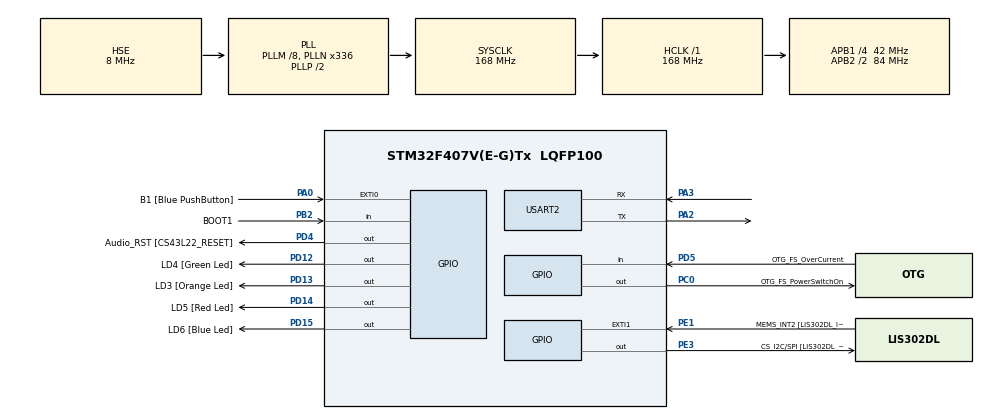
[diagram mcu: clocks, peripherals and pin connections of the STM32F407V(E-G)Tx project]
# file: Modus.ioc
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Mcu.Family=STM32F4
Mcu.Name=STM32F407V(E-G)Tx
Mcu.Package=LQFP100
NVIC.PriorityGroup=NVIC_PRIORITYGROUP_0
NVIC.TIM6_DAC_IRQn=true\:0\:0\:false\:false\:true\:true\:true\:true
NVIC.TIM7_IRQn=true\:0\:0\:false\:false\:true\:true\:true\:true
NVIC.USART2_IRQn=true\:0\:0\:false\:false\:true\:true\:true\:true
PA0-WKUP.GPIO_Label=B1 [Blue PushButton]
PA0-WKUP.Signal=GPXTI0
PA10.GPIO_Label=OTG_FS_ID
PA10.GPIO_Mode=GPIO_MODE_AF_PP
PA10.GPIO_PuPd=GPIO_NOPULL
PA10.GPIO_Speed=GPIO_SPEED_FREQ_LOW
PA10.Signal=USB_OTG_FS_ID
PA11.GPIO_Label=OTG_FS_DM
PA11.GPIO_Mode=GPIO_MODE_AF_PP
PA11.GPIO_PuPd=GPIO_NOPULL
PA11.GPIO_Speed=GPIO_SPEED_FREQ_LOW
PA11.Signal=USB_OTG_FS_DM
PA12.GPIO_Label=OTG_FS_DP
PA12.GPIO_Mode=GPIO_MODE_AF_PP
PA12.GPIO_PuPd=GPIO_NOPULL
PA12.GPIO_Speed=GPIO_SPEED_FREQ_LOW
PA12.Signal=USB_OTG_FS_DP
PA13.GPIO_Label=SWDIO
PA13.Mode=JTAG_4_pins
PA13.Signal=SYS_JTMS-SWDIO
PA14.GPIO_Label=SWCLK
PA14.Mode=JTAG_4_pins
PA14.Signal=SYS_JTCK-SWCLK
PA15.Mode=JTAG_4_pins
PA15.Signal=SYS_JTDI
PA2.Mode=Asynchronous
PA2.Signal=USART2_TX
PA3.Mode=Asynchronous
PA3.Signal=USART2_RX
PA4.GPIO_Label=I2S3_WS [CS43L22_LRCK]
PA4.GPIO_Mode=GPIO_MODE_AF_PP
PA4.GPIO_PuPd=GPIO_NOPULL
PA4.GPIO_Speed=GPIO_SPEED_FREQ_LOW
PA4.Signal=I2S3_WS
PA5.GPIO_Label=SPI1_SCK [LIS302DL_SCL/SPC]
PA5.GPIO_Mode=GPIO_MODE_AF_PP
PA5.GPIO_PuPd=GPIO_NOPULL
PA5.GPIO_Speed=GPIO_SPEED_FREQ_LOW
PA5.Signal=SPI1_SCK
PA6.GPIO_Label=SPI1_MISO [LIS302DL_SDO]
PA6.GPIO_Mode=GPIO_MODE_AF_PP
PA6.GPIO_PuPd=GPIO_NOPULL
PA6.GPIO_Speed=GPIO_SPEED_FREQ_LOW
PA6.Signal=SPI1_MISO
PA7.GPIO_Label=SPI1_MOSI [LIS302DL_SDA/SDI/SDO]
PA7.GPIO_Mode=GPIO_MODE_AF_PP
PA7.GPIO_PuPd=GPIO_NOPULL
PA7.GPIO_Speed=GPIO_SPEED_FREQ_LOW
PA7.Signal=SPI1_MOSI
PA9.GPIO_Label=VBUS_FS
PA9.GPIO_Mode=GPIO_MODE_INPUT
PA9.GPIO_PuPd=GPIO_NOPULL
PA9.Signal=USB_OTG_FS_VBUS
PB10.GPIO_Label=CLK_IN [MP45DT02_CLK]
PB10.GPIO_Mode=GPIO_MODE_AF_PP
PB10.GPIO_PuPd=GPIO_NOPULL
PB10.GPIO_Speed=GPIO_SPEED_FREQ_LOW
PB10.Signal=I2S2_CK
PB2.GPIO_Label=BOOT1
PB2.GPIO_Mode=GPIO_MODE_INPUT
PB2.GPIO_PuPd=GPIO_NOPULL
PB2.Signal=GPIO_Input
PB3.GPIO_Label=SWO
PB3.Mode=JTAG_4_pins
PB3.Signal=SYS_JTDO-SWO
PB6.GPIO_Label=Audio_SCL [CS43L22_SCL]
PB6.GPIO_Mode=GPIO_MODE_AF_OD
PB6.GPIO_PuPd=GPIO_NOPULL
PB6.GPIO_Speed=GPIO_SPEED_FREQ_LOW
PB6.Signal=I2C1_SCL
PB9.GPIO_Label=Audio_SDA [CS43L22_SDA]
PB9.GPIO_Mode=GPIO_MODE_AF_OD
PB9.GPIO_PuPd=GPIO_NOPULL
PB9.GPIO_Speed=GPIO_SPEED_FREQ_LOW
PB9.Signal=I2C1_SDA
PC0.GPIO_Label=OTG_FS_PowerSwitchOn
PC0.GPIO_PuPd=GPIO_NOPULL
PC0.GPIO_Speed=GPIO_SPEED_FREQ_LOW
PC0.PinState=GPIO_PIN_SET
PC0.Signal=GPIO_Output
PC10.GPIO_Label=I2S3_SCK [CS43L22_SCLK]
PC10.GPIO_Mode=GPIO_MODE_AF_PP
PC10.GPIO_PuPd=GPIO_NOPULL
PC10.GPIO_Speed=GPIO_SPEED_FREQ_LOW
PC10.Signal=I2S3_CK
PC12.GPIO_Label=I2S3_SD [CS43L22_SDIN]
PC12.GPIO_Mode=GPIO_MODE_AF_PP
PC12.GPIO_PuPd=GPIO_NOPULL
PC12.GPIO_Speed=GPIO_SPEED_FREQ_LOW
PC12.Signal=I2S3_SD
PC14-OSC32_IN.GPIO_Label=PC14-OSC32_IN
PC14-OSC32_IN.Signal=RCC_OSC32_IN
PC15-OSC32_OUT.GPIO_Label=PC15-OSC32_OUT
PC15-OSC32_OUT.Signal=RCC_OSC32_OUT
PC3.GPIO_Label=PDM_OUT [MP45DT02_DOUT]
PC3.GPIO_Mode=GPIO_MODE_AF_PP
PC3.GPIO_PuPd=GPIO_NOPULL
PC3.GPIO_Speed=GPIO_SPEED_FREQ_LOW
PC3.Signal=I2S2_SD
PC7.GPIO_Label=I2S3_MCK [CS43L22_MCLK]
PC7.GPIO_Mode=GPIO_MODE_AF_PP
PC7.GPIO_PuPd=GPIO_NOPULL
PC7.GPIO_Speed=GPIO_SPEED_FREQ_LOW
PC7.Signal=I2S3_MCK
PD12.GPIO_Label=LD4 [Green Led]
PD12.GPIO_PuPd=GPIO_NOPULL
PD12.GPIO_Speed=GPIO_SPEED_FREQ_LOW
PD12.Signal=GPIO_Output
PD13.GPIO_Label=LD3 [Orange Led]
PD13.GPIO_PuPd=GPIO_NOPULL
PD13.GPIO_Speed=GPIO_SPEED_FREQ_LOW
PD13.Signal=GPIO_Output
PD14.GPIO_Label=LD5 [Red Led]
PD14.GPIO_PuPd=GPIO_NOPULL
PD14.GPIO_Speed=GPIO_SPEED_FREQ_LOW
PD14.Signal=GPIO_Output
PD15.GPIO_Label=LD6 [Blue Led]
PD15.GPIO_PuPd=GPIO_NOPULL
PD15.GPIO_Speed=GPIO_SPEED_FREQ_LOW
PD15.Signal=GPIO_Output
PD4.GPIO_Label=Audio_RST [CS43L22_RESET]
PD4.GPIO_PuPd=GPIO_NOPULL
PD4.GPIO_Speed=GPIO_SPEED_FREQ_LOW
PD4.Signal=GPIO_Output
PD5.GPIO_Label=OTG_FS_OverCurrent
PD5.GPIO_Mode=GPIO_MODE_INPUT
PD5.GPIO_PuPd=GPIO_NOPULL
PD5.Signal=GPIO_Input
PE1.GPIO_Label=MEMS_INT2 [LIS302DL_INT2]
PE1.GPIO_ModeDefaultEXTI=GPIO_MODE_EVT_RISING
PE1.GPIO_PuPd=GPIO_NOPULL
PE1.Signal=GPXTI1
PE3.GPIO_Label=CS_I2C/SPI [LIS302DL_CS_I2C/SPI]
PE3.GPIO_PuPd=GPIO_NOPULL
PE3.GPIO_Speed=GPIO_SPEED_FREQ_LOW
PE3.Signal=GPIO_Output
PH0-OSC_IN.GPIO_Label=PH0-OSC_IN
PH0-OSC_IN.Mode=HSE-External-Oscillator
PH0-OSC_IN.Signal=RCC_OSC_IN
PH1-OSC_OUT.GPIO_Label=PH1-OSC_OUT
PH1-OSC_OUT.Mode=HSE-External-Oscillator
PH1-OSC_OUT.Signal=RCC_OSC_OUT
ProjectManager.HeapSize=0x200
ProjectManager.StackSize=0x400
ProjectManager.TargetToolchain=STM32CubeIDE
RCC.48MHZClocksFreq_Value=48000000
RCC.AHBFreq_Value=168000000
RCC.APB1CLKDivider=RCC_HCLK_DIV4
RCC.APB1Freq_Value=42000000
RCC.APB1TimFreq_Value=84000000
RCC.APB2CLKDivider=RCC_HCLK_DIV2
RCC.APB2Freq_Value=84000000
RCC.APB2TimFreq_Value=168000000
RCC.CortexFreq_Value=168000000
RCC.HCLKFreq_Value=168000000
RCC.HSE_VALUE=8000000
RCC.HSI_VALUE=16000000
RCC.LSE_VALUE=32768
RCC.PLLM=8
RCC.PLLN=336
RCC.PLLQ=7
RCC.PLLSourceVirtual=RCC_PLLSOURCE_HSE
RCC.SYSCLKFreq_VALUE=168000000
RCC.SYSCLKSource=RCC_SYSCLKSOURCE_PLLCLK
RCC.VCOOutputFreq_Value=336000000
TIM6.Period=149
TIM6.Prescaler=83
TIM7.AutoReloadPreload=TIM_AUTORELOAD_PRELOAD_DISABLE
TIM7.Period=999
TIM7.Prescaler=83
USART2.Parity=PARITY_NONE
USART2.VirtualMode=VM_ASYNC
VP_TIM6_VS_ClockSourceINT.Mode=Enable_Timer
VP_TIM7_VS_ClockSourceINT.Mode=Enable_Timer
board=STM32F407G-DISC1

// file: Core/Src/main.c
/* USER CODE BEGIN Header */
/**
  ******************************************************************************
  * @file           : main.c
  * @brief          : Main program body
  ******************************************************************************
  * @attention
  *
  * Copyright (c) 2025 STMicroelectronics.
  * All rights reserved.
  *
  * This software is licensed under terms that can be found in the LICENSE file
  * in the root directory of this software component.
  * If no LICENSE file comes with this software, it is provided AS-IS.
  *
  ******************************************************************************
  */
/* USER CODE END Header */
#include "main.h"

/* USER CODE BEGIN Includes */

#include "Timer.h"
#include "modbus.h"

/* USER CODE END Includes */

TIM_HandleTypeDef htim6;
TIM_HandleTypeDef htim7;

UART_HandleTypeDef huart2;

void SystemClock_Config(void);
static void MX_GPIO_Init(void);
static void MX_TIM7_Init(void);
static void MX_USART2_UART_Init(void);
static void MX_TIM6_Init(void);

/* USER CODE BEGIN 0 */

extern struct ModbusReceiver_t MB_Receiver;

void HAL_UART_RxCpltCallback(UART_HandleTypeDef *huart)
{
  /* Prevent unused argument(s) compilation warning */

	MB_ReceiverISR();

	HAL_UART_Receive_IT(&huart2, &MB_Receiver.ReceivedByte, 1);
  /* NOTE: This function should not be modified, when the callback is needed,
		   the HAL_UART_RxCpltCallback could be implemented in the user file
   */
}

/* USER CODE END 0 */

int main(void)
{

  /* MCU Configuration--------------------------------------------------------*/

  /* Reset of all peripherals, Initializes the Flash interface and the Systick. */
  HAL_Init();

  /* Configure the system clock */
  SystemClock_Config();

  /* Initialize all configured peripherals */
  MX_GPIO_Init();
  MX_TIM7_Init();
  MX_USART2_UART_Init();
  MX_TIM6_Init();
  /* USER CODE BEGIN 2 */

  MB_InitReceiver();
  InitHoldingRegisters();

  HAL_UART_Receive_IT(&huart2, &MB_Receiver.ReceivedByte, 1); // init the uart interrupt

  HAL_NVIC_SetPriority(TIM7_IRQn, 0, 0);
  HAL_NVIC_EnableIRQ(TIM7_IRQn);
  HAL_NVIC_SetPriority(TIM6_DAC_IRQn, 0, 0);
  HAL_NVIC_EnableIRQ(TIM6_DAC_IRQn);

  /* USER CODE END 2 */

  /* Infinite loop */
  while (1)
  {

    /* USER CODE BEGIN 3 */

	  TaskControlRedLed();
	  //TaskModbusCommunication();
	  //TaskUartTransmit();
  }
  /* USER CODE END 3 */
}

void SystemClock_Config(void)
{
  RCC_OscInitTypeDef RCC_OscInitStruct = {0};
  RCC_ClkInitTypeDef RCC_ClkInitStruct = {0};

  /** Configure the main internal regulator output voltage
  */
  __HAL_RCC_PWR_CLK_ENABLE();
  __HAL_PWR_VOLTAGESCALING_CONFIG(PWR_REGULATOR_VOLTAGE_SCALE1);

  /** Initializes the RCC Oscillators according to the specified parameters
  * in the RCC_OscInitTypeDef structure.
  */
  RCC_OscInitStruct.OscillatorType = RCC_OSCILLATORTYPE_HSE;
  RCC_OscInitStruct.HSEState = RCC_HSE_ON;
  RCC_OscInitStruct.PLL.PLLState = RCC_PLL_ON;
  RCC_OscInitStruct.PLL.PLLSource = RCC_PLLSOURCE_HSE;
  RCC_OscInitStruct.PLL.PLLM = 8;
  RCC_OscInitStruct.PLL.PLLN = 336;
  RCC_OscInitStruct.PLL.PLLP = RCC_PLLP_DIV2;
  RCC_OscInitStruct.PLL.PLLQ = 7;
  if (HAL_RCC_OscConfig(&RCC_OscInitStruct) != HAL_OK)
  {
    Error_Handler();
  }

  /** Initializes the CPU, AHB and APB buses clocks
  */
  RCC_ClkInitStruct.ClockType = RCC_CLOCKTYPE_HCLK|RCC_CLOCKTYPE_SYSCLK
                              |RCC_CLOCKTYPE_PCLK1|RCC_CLOCKTYPE_PCLK2;
  RCC_ClkInitStruct.SYSCLKSource = RCC_SYSCLKSOURCE_PLLCLK;
  RCC_ClkInitStruct.AHBCLKDivider = RCC_SYSCLK_DIV1;
  RCC_ClkInitStruct.APB1CLKDivider = RCC_HCLK_DIV4;
  RCC_ClkInitStruct.APB2CLKDivider = RCC_HCLK_DIV2;

  if (HAL_RCC_ClockConfig(&RCC_ClkInitStruct, FLASH_LATENCY_5) != HAL_OK)
  {
    Error_Handler();
  }
}

static void MX_TIM6_Init(void)
{

  TIM_MasterConfigTypeDef sMasterConfig = {0};

  htim6.Instance = TIM6;
  htim6.Init.Prescaler = 83;
  htim6.Init.CounterMode = TIM_COUNTERMODE_UP;
  htim6.Init.Period = 149;
  htim6.Init.AutoReloadPreload = TIM_AUTORELOAD_PRELOAD_DISABLE;
  if (HAL_TIM_Base_Init(&htim6) != HAL_OK)
  {
    Error_Handler();
  }
  sMasterConfig.MasterOutputTrigger = TIM_TRGO_RESET;
  sMasterConfig.MasterSlaveMode = TIM_MASTERSLAVEMODE_DISABLE;
  if (HAL_TIMEx_MasterConfigSynchronization(&htim6, &sMasterConfig) != HAL_OK)
  {
    Error_Handler();
  }
  /* USER CODE BEGIN TIM6_Init 2 */
  //HAL_TIM_Base_Start_IT(&htim6); // start after slave id received;

  /* USER CODE END TIM6_Init 2 */

}

static void MX_TIM7_Init(void)
{

  TIM_MasterConfigTypeDef sMasterConfig = {0};

  htim7.Instance = TIM7;
  htim7.Init.Prescaler = 83;
  htim7.Init.CounterMode = TIM_COUNTERMODE_UP;
  htim7.Init.Period = 999;
  htim7.Init.AutoReloadPreload = TIM_AUTORELOAD_PRELOAD_DISABLE;
  if (HAL_TIM_Base_Init(&htim7) != HAL_OK)
  {
    Error_Handler();
  }
  sMasterConfig.MasterOutputTrigger = TIM_TRGO_RESET;
  sMasterConfig.MasterSlaveMode = TIM_MASTERSLAVEMODE_DISABLE;
  if (HAL_TIMEx_MasterConfigSynchronization(&htim7, &sMasterConfig) != HAL_OK)
  {
    Error_Handler();
  }
  /* USER CODE BEGIN TIM7_Init 2 */
  HAL_TIM_Base_Start_IT(&htim7);

  /* USER CODE END TIM7_Init 2 */

}

static void MX_USART2_UART_Init(void)
{

  huart2.Instance = USART2;
  huart2.Init.BaudRate = 115200;
  huart2.Init.WordLength = UART_WORDLENGTH_8B;
  huart2.Init.StopBits = UART_STOPBITS_1;
  huart2.Init.Parity = UART_PARITY_NONE;
  huart2.Init.Mode = UART_MODE_TX_RX;
  huart2.Init.HwFlowCtl = UART_HWCONTROL_NONE;
  huart2.Init.OverSampling = UART_OVERSAMPLING_16;
  if (HAL_UART_Init(&huart2) != HAL_OK)
  {
    Error_Handler();
  }

}

static void MX_GPIO_Init(void)
{
  GPIO_InitTypeDef GPIO_InitStruct = {0};

  /* GPIO Ports Clock Enable */
  __HAL_RCC_GPIOE_CLK_ENABLE();
  __HAL_RCC_GPIOC_CLK_ENABLE();
  __HAL_RCC_GPIOH_CLK_ENABLE();
  __HAL_RCC_GPIOA_CLK_ENABLE();
  __HAL_RCC_GPIOB_CLK_ENABLE();
  __HAL_RCC_GPIOD_CLK_ENABLE();

  /*Configure GPIO pin Output Level */
  HAL_GPIO_WritePin(CS_I2C_SPI_GPIO_Port, CS_I2C_SPI_Pin, GPIO_PIN_RESET);

  /*Configure GPIO pin Output Level */
  HAL_GPIO_WritePin(OTG_FS_PowerSwitchOn_GPIO_Port, OTG_FS_PowerSwitchOn_Pin, GPIO_PIN_SET);

  /*Configure GPIO pin Output Level */
  HAL_GPIO_WritePin(GPIOD, LD4_Pin|LD3_Pin|LD5_Pin|LD6_Pin
                          |Audio_RST_Pin, GPIO_PIN_RESET);

  /*Configure GPIO pin : CS_I2C_SPI_Pin */
  GPIO_InitStruct.Pin = CS_I2C_SPI_Pin;
  GPIO_InitStruct.Mode = GPIO_MODE_OUTPUT_PP;
  GPIO_InitStruct.Pull = GPIO_NOPULL;
  GPIO_InitStruct.Speed = GPIO_SPEED_FREQ_LOW;
  HAL_GPIO_Init(CS_I2C_SPI_GPIO_Port, &GPIO_InitStruct);

  /*Configure GPIO pin : OTG_FS_PowerSwitchOn_Pin */
  GPIO_InitStruct.Pin = OTG_FS_PowerSwitchOn_Pin;
  GPIO_InitStruct.Mode = GPIO_MODE_OUTPUT_PP;
  GPIO_InitStruct.Pull = GPIO_NOPULL;
  GPIO_InitStruct.Speed = GPIO_SPEED_FREQ_LOW;
  HAL_GPIO_Init(OTG_FS_PowerSwitchOn_GPIO_Port, &GPIO_InitStruct);

  /*Configure GPIO pin : PDM_OUT_Pin */
  GPIO_InitStruct.Pin = PDM_OUT_Pin;
  GPIO_InitStruct.Mode = GPIO_MODE_AF_PP;
  GPIO_InitStruct.Pull = GPIO_NOPULL;
  GPIO_InitStruct.Speed = GPIO_SPEED_FREQ_LOW;
  GPIO_InitStruct.Alternate = GPIO_AF5_SPI2;
  HAL_GPIO_Init(PDM_OUT_GPIO_Port, &GPIO_InitStruct);

  /*Configure GPIO pin : B1_Pin */
  GPIO_InitStruct.Pin = B1_Pin;
  GPIO_InitStruct.Mode = GPIO_MODE_IT_RISING;
  GPIO_InitStruct.Pull = GPIO_NOPULL;
  HAL_GPIO_Init(B1_GPIO_Port, &GPIO_InitStruct);

  /*Configure GPIO pin : I2S3_WS_Pin */
  GPIO_InitStruct.Pin = I2S3_WS_Pin;
  GPIO_InitStruct.Mode = GPIO_MODE_AF_PP;
  GPIO_InitStruct.Pull = GPIO_NOPULL;
  GPIO_InitStruct.Speed = GPIO_SPEED_FREQ_LOW;
  GPIO_InitStruct.Alternate = GPIO_AF6_SPI3;
  HAL_GPIO_Init(I2S3_WS_GPIO_Port, &GPIO_InitStruct);

  /*Configure GPIO pins : SPI1_SCK_Pin SPI1_MISO_Pin SPI1_MOSI_Pin */
  GPIO_InitStruct.Pin = SPI1_SCK_Pin|SPI1_MISO_Pin|SPI1_MOSI_Pin;
  GPIO_InitStruct.Mode = GPIO_MODE_AF_PP;
  GPIO_InitStruct.Pull = GPIO_NOPULL;
  GPIO_InitStruct.Speed = GPIO_SPEED_FREQ_LOW;
  GPIO_InitStruct.Alternate = GPIO_AF5_SPI1;
  HAL_GPIO_Init(GPIOA, &GPIO_InitStruct);

  /*Configure GPIO pin : BOOT1_Pin */
  GPIO_InitStruct.Pin = BOOT1_Pin;
  GPIO_InitStruct.Mode = GPIO_MODE_INPUT;
  GPIO_InitStruct.Pull = GPIO_NOPULL;
  HAL_GPIO_Init(BOOT1_GPIO_Port, &GPIO_InitStruct);

  /*Configure GPIO pin : CLK_IN_Pin */
  GPIO_InitStruct.Pin = CLK_IN_Pin;
  GPIO_InitStruct.Mode = GPIO_MODE_AF_PP;
  GPIO_InitStruct.Pull = GPIO_NOPULL;
  GPIO_InitStruct.Speed = GPIO_SPEED_FREQ_LOW;
  GPIO_InitStruct.Alternate = GPIO_AF5_SPI2;
  HAL_GPIO_Init(CLK_IN_GPIO_Port, &GPIO_InitStruct);

  /*Configure GPIO pins : LD4_Pin LD3_Pin LD5_Pin LD6_Pin
                           Audio_RST_Pin */
  GPIO_InitStruct.Pin = LD4_Pin|LD3_Pin|LD5_Pin|LD6_Pin
                          |Audio_RST_Pin;
  GPIO_InitStruct.Mode = GPIO_MODE_OUTPUT_PP;
  GPIO_InitStruct.Pull = GPIO_NOPULL;
  GPIO_InitStruct.Speed = GPIO_SPEED_FREQ_LOW;
  HAL_GPIO_Init(GPIOD, &GPIO_InitStruct);

  /*Configure GPIO pins : I2S3_MCK_Pin I2S3_SCK_Pin I2S3_SD_Pin */
  GPIO_InitStruct.Pin = I2S3_MCK_Pin|I2S3_SCK_Pin|I2S3_SD_Pin;
  GPIO_InitStruct.Mode = GPIO_MODE_AF_PP;
  GPIO_InitStruct.Pull = GPIO_NOPULL;
  GPIO_InitStruct.Speed = GPIO_SPEED_FREQ_LOW;
  GPIO_InitStruct.Alternate = GPIO_AF6_SPI3;
  HAL_GPIO_Init(GPIOC, &GPIO_InitStruct);

  /*Configure GPIO pin : VBUS_FS_Pin */
  GPIO_InitStruct.Pin = VBUS_FS_Pin;
  GPIO_InitStruct.Mode = GPIO_MODE_INPUT;
  GPIO_InitStruct.Pull = GPIO_NOPULL;
  HAL_GPIO_Init(VBUS_FS_GPIO_Port, &GPIO_InitStruct);

  /*Configure GPIO pins : OTG_FS_ID_Pin OTG_FS_DM_Pin OTG_FS_DP_Pin */
  GPIO_InitStruct.Pin = OTG_FS_ID_Pin|OTG_FS_DM_Pin|OTG_FS_DP_Pin;
  GPIO_InitStruct.Mode = GPIO_MODE_AF_PP;
  GPIO_InitStruct.Pull = GPIO_NOPULL;
  GPIO_InitStruct.Speed = GPIO_SPEED_FREQ_LOW;
  GPIO_InitStruct.Alternate = GPIO_AF10_OTG_FS;
  HAL_GPIO_Init(GPIOA, &GPIO_InitStruct);

  /*Configure GPIO pin : OTG_FS_OverCurrent_Pin */
  GPIO_InitStruct.Pin = OTG_FS_OverCurrent_Pin;
  GPIO_InitStruct.Mode = GPIO_MODE_INPUT;
  GPIO_InitStruct.Pull = GPIO_NOPULL;
  HAL_GPIO_Init(OTG_FS_OverCurrent_GPIO_Port, &GPIO_InitStruct);

  /*Configure GPIO pins : Audio_SCL_Pin Audio_SDA_Pin */
  GPIO_InitStruct.Pin = Audio_SCL_Pin|Audio_SDA_Pin;
  GPIO_InitStruct.Mode = GPIO_MODE_AF_OD;
  GPIO_InitStruct.Pull = GPIO_NOPULL;
  GPIO_InitStruct.Speed = GPIO_SPEED_FREQ_LOW;
  GPIO_InitStruct.Alternate = GPIO_AF4_I2C1;
  HAL_GPIO_Init(GPIOB, &GPIO_InitStruct);

  /*Configure GPIO pin : MEMS_INT2_Pin */
  GPIO_InitStruct.Pin = MEMS_INT2_Pin;
  GPIO_InitStruct.Mode = GPIO_MODE_EVT_RISING;
  GPIO_InitStruct.Pull = GPIO_NOPULL;
  HAL_GPIO_Init(MEMS_INT2_GPIO_Port, &GPIO_InitStruct);

}

void Error_Handler(void)
{
  __disable_irq();
  while (1)
  {
  }
}
